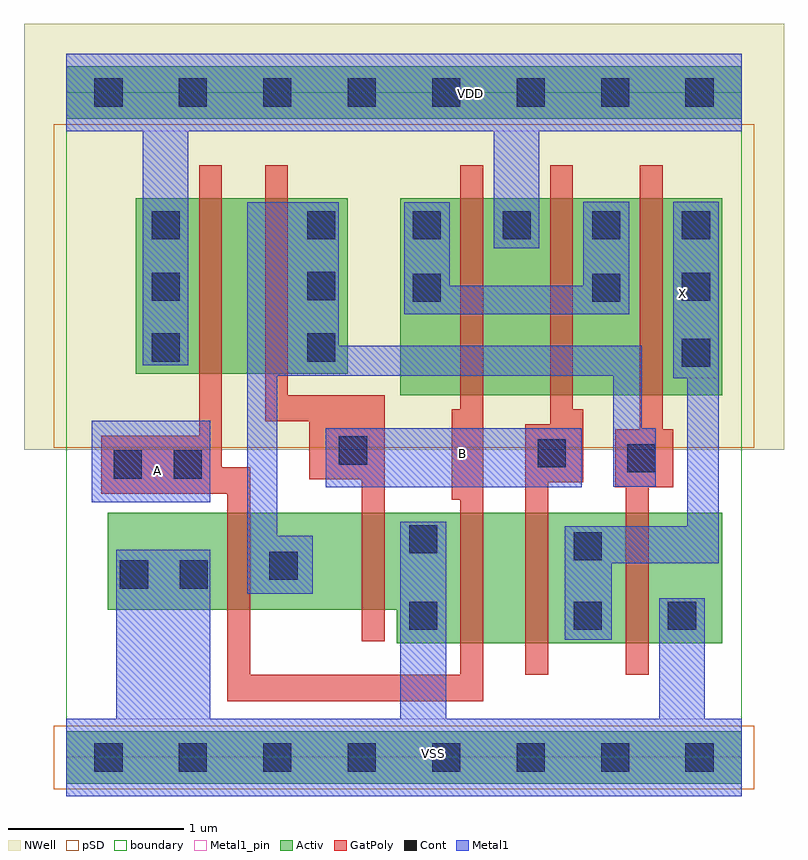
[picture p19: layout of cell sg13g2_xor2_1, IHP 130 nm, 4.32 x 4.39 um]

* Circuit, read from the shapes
.subckt sg13g2_xor2_1 A B VDD VSS X
XM1 n1 A VSS VSS sg13_lv_nmos w=0.55u l=0.13u
XM2 VSS B n1 VSS sg13_lv_nmos w=0.55u l=0.13u
XM3 n2 A VSS VSS sg13_lv_nmos w=0.74u l=0.13u
XM4 X B n2 VSS sg13_lv_nmos w=0.74u l=0.13u
XM5 VSS n1 X VSS sg13_lv_nmos w=0.74u l=0.13u
XM6 n3 A VDD VDD sg13_lv_pmos w=1u l=0.13u
XM7 n1 B n3 VDD sg13_lv_pmos w=1u l=0.13u
XM8 VDD A n4 VDD sg13_lv_pmos w=1.12u l=0.13u
XM9 n4 B VDD VDD sg13_lv_pmos w=1.12u l=0.13u
XM10 X n1 n4 VDD sg13_lv_pmos w=1.12u l=0.13u
.ends

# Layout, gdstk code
import gdstk
lib = gdstk.Library(unit=1e-6, precision=1e-09)
def R(c, l, rs):  # rectangles x0, y0, x1, y1
    for r in rs: c.add(gdstk.rectangle(r[:2], r[2:], *l))
def A(c, l, x, y, w, h, nx, ny, dx, dy):  # array of equal rectangles
    R(c, l, [(x+i*dx, y+j*dy, x+i*dx+w, y+j*dy+h) for i in range(nx) for j in range(ny)])
def P(c, l, *ps):  # polygons
    for p in ps: c.add(gdstk.Polygon(p, *l))
Activ = (1, 0)
GatPoly = (5, 0)
Cont = (6, 0)
Metal1 = (8, 0)
Metal1_pin = (8, 2)
pSD = (14, 0)
NWell = (31, 0)
boundary = (189, 4)

sg13g2_xor2_1 = lib.new_cell('sg13g2_xor2_1')
R(sg13g2_xor2_1, Activ, [(0,-0.15,3.84,0.15), (1.9,2.06,3.73,3.18), (0.395,2.18,1.6,3.18), (0,3.63,3.84,3.93)])
P(sg13g2_xor2_1, Activ, [(1.88,0.65),(1.88,0.84),(0.235,0.84),(0.235,1.39),(3.73,1.39),(3.73,0.65)])
R(sg13g2_xor2_1, GatPoly, [(3.12,1.535,3.345,1.865)])
P(sg13g2_xor2_1, GatPoly, [(0.915,0.32),(0.915,1.5),(0.2,1.5),(0.2,1.83),(0.755,1.83),(0.755,3.365),(0.885,3.365),(0.885,1.65),(1.045,1.65),(1.045,0.47),(2.24,0.47),(2.24,1.465),(2.19,1.465),(2.19,1.98),(2.24,1.98),(2.24,3.365),(2.37,3.365),(2.37,0.32)],
  [(1.68,0.66),(1.68,1.58),(1.38,1.58),(1.38,1.91),(1.13,1.91),(1.13,3.365),(1.26,3.365),(1.26,2.06),(1.81,2.06),(1.81,0.66)],
  [(3.18,0.47),(3.18,1.865),(3.26,1.865),(3.26,3.365),(3.39,3.365),(3.39,1.865),(3.45,1.865),(3.45,1.535),(3.31,1.535),(3.31,0.47)],
  [(2.61,0.47),(2.61,1.895),(2.75,1.895),(2.75,3.365),(2.88,3.365),(2.88,1.98),(2.94,1.98),(2.94,1.565),(2.74,1.565),(2.74,0.47)])
A(sg13g2_xor2_1, Cont, 0.16, -0.08, 0.16, 0.16, 8, 2, 0.48, 3.78)
A(sg13g2_xor2_1, Cont, 1.97, 2.945, 0.16, 0.16, 4, 1, 0.51, 0)
R(sg13g2_xor2_1, Cont, [(1.95,0.725,2.11,0.885), (2.885,0.725,3.045,0.885), (3.42,0.725,3.58,0.885), (0.305,0.96,0.465,1.12), (0.645,0.96,0.805,1.12), (1.155,1.01,1.315,1.17), (2.885,1.12,3.045,1.28), (1.95,1.16,2.11,1.32), (0.27,1.585,0.43,1.745), (0.61,1.585,0.77,1.745), (3.19,1.62,3.35,1.78), (2.68,1.65,2.84,1.81), (1.55,1.665,1.71,1.825), (3.5,2.22,3.66,2.38), (0.485,2.25,0.645,2.41), (1.37,2.25,1.53,2.41), (1.97,2.59,2.13,2.75), (2.99,2.59,3.15,2.75), (0.485,2.595,0.645,2.755), (3.5,2.595,3.66,2.755), (1.37,2.6,1.53,2.76), (0.485,2.945,0.645,3.105), (1.37,2.945,1.53,3.105)])
R(sg13g2_xor2_1, Metal1, [(0.145,1.45,0.82,1.915), (1.475,1.535,2.93,1.87)])
P(sg13g2_xor2_1, Metal1, [(0,-0.22),(0,0.22),(0.285,0.22),(0.285,1.18),(0.82,1.18),(0.82,0.22),(1.9,0.22),(1.9,1.34),(2.16,1.34),(2.16,0.22),(3.37,0.22),(3.37,0.905),(3.63,0.905),(3.63,0.22),(3.84,0.22),(3.84,-0.22)],
  [(1.03,0.93),(1.03,3.155),(1.55,3.155),(1.55,2.34),(3.27,2.34),(3.27,1.87),(3.35,1.87),(3.35,1.54),(3.11,1.54),(3.11,2.17),(1.2,2.17),(1.2,1.26),(1.4,1.26),(1.4,0.93)],
  [(2.835,0.67),(2.835,1.315),(3.53,1.315),(3.53,2.155),(3.45,2.155),(3.45,3.16),(3.71,3.16),(3.71,1.105),(3.1,1.105),(3.1,0.67)],
  [(0.435,2.23),(0.435,3.56),(0,3.56),(0,4),(3.84,4),(3.84,3.56),(2.69,3.56),(2.69,2.895),(2.43,2.895),(2.43,3.56),(0.695,3.56),(0.695,2.23)],
  [(1.92,2.52),(1.92,3.155),(2.18,3.155),(2.18,2.68),(2.94,2.68),(2.94,3.16),(3.2,3.16),(3.2,2.52)])
R(sg13g2_xor2_1, Metal1_pin, [(0,-0.22,3.84,0.22), (0.145,1.45,0.82,1.915), (1.475,1.535,2.93,1.87), (3.45,2.155,3.71,3.16), (0,3.56,3.84,4)])
R(sg13g2_xor2_1, pSD, [(-0.07,-0.18,3.91,0.18), (-0.07,1.76,3.91,3.6)])
R(sg13g2_xor2_1, NWell, [(-0.24,1.75,4.08,4.17)])
R(sg13g2_xor2_1, boundary, [(0,0,3.84,3.78)])
sg13g2_xor2_1.add(gdstk.Label('VSS', (2.09,0.02), layer=8, texttype=25))
sg13g2_xor2_1.add(gdstk.Label('A', (0.52,1.63), layer=8, texttype=25))
sg13g2_xor2_1.add(gdstk.Label('B', (2.255,1.725), layer=8, texttype=25))
sg13g2_xor2_1.add(gdstk.Label('VDD', (2.3,3.775), layer=8, texttype=25))
sg13g2_xor2_1.add(gdstk.Label('X', (3.505,2.635), layer=8, texttype=25))

lib.write_gds('sg13g2_xor2_1.gds')
